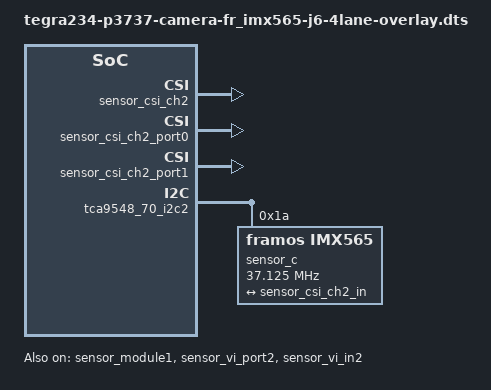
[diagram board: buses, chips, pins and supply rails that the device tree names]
// SPDX-License-Identifier: GPL-2.0
/*
 * Copyright (c) 2024 Framos. All rights reserved.
 *
 * tegra234-p3737-camera-fr_imx565-j6-4lane-overlay.dts - IMX412 sensor device tree
 */

/dts-v1/;
/plugin/;

#include <dt-bindings/clock/tegra234-clock.h>
#include <dt-bindings/gpio/tegra234-gpio.h>
#include <dt-bindings/tegra234-p3737-0000+p3701-0000.h>


/ {
	overlay-name = "Framos IMX565-J6-4Lane";
	jetson-header-name = "Jetson AGX CSI Connector";
	compatible = JETSON_COMPATIBLE;

	fragment@0 {
		target = <&sensor_module1>;
		__overlay__ {
			status = "okay";
			badge = "imx565_centerright_framos";
			drivernode0 {
				status = "okay";
				/* Declare PCL support driver (classically known as guid) */
				devname = "imx565 11-001a";
				/* Declare the device-tree hierarchy to driver instance */
				sysfs-device-tree = "/sys/firmware/devicetree/base/bus@0/i2c@3180000/tca9548@70/i2c@2/imx565_c@1a";
			};
		};
	};

	fragment@1 {
		target = <&sensor_vi_port2>;
		__overlay__ {
			status = "okay";
		};
	};

	fragment@2 {
		target = <&sensor_vi_in2>;
		__overlay__ {
			status = "okay";
			bus-width = <4>;
		};
	};

	fragment@3 {
		target = <&sensor_csi_ch2>;
		__overlay__ {
			status = "okay";
			ports {
				status = "okay";
			};
		};
	};

	fragment@4 {
		target = <&sensor_csi_ch2_port0>;
		__overlay__ {
			status = "okay";
		};
	};

	fragment@5 {
		target = <&sensor_csi_ch2_in>;
		__overlay__ {
			status = "okay";
			bus-width = <4>;
			remote-endpoint = <&sensor_out_c>;
		};
	};

	fragment@6 {
		target = <&sensor_csi_ch2_port1>;
		__overlay__ {
			status = "okay";
		};
	};

	fragment@7 {
		target = <&sensor_csi_ch2_out>;
		__overlay__ {
			status = "okay";
		};
	};

	fragment@8 {
		target = <&tca9548_70_i2c2>;
		__overlay__ {
			sensor_c: imx565_c@1a {
				compatible = "framos,imx565";
				reg = <0x1a>;

				/* Define any required hw resources needed by driver */
				/* ie. clocks, io pins, power sources */
				clocks = <&bpmp TEGRA234_CLK_EXTPERIPH1>, <&bpmp TEGRA234_CLK_EXTPERIPH1>;
				clock-names = "extperiph1", "pllp_grtba";
				mclk = "extperiph1";
				clock-frequency = <37125000>;

				devnode = "video2";

				physical_w = "20.00";
				physical_h = "16.80";

				sensor_model ="imx565";

				/* Defines number of frames to be dropped by driver internally after applying */
				/* sensor crop settings. Some sensors send corrupt frames after applying */
				/* crop co-ordinates */
				post_crop_frame_drop = "0";

				/* Convert Gain to unit of dB (decibel) befor passing to kernel driver */
				use_decibel_gain = "true";

				/* if true, delay gain setting by one frame to be in sync with exposure */
				delayed_gain = "false";

				/* enable CID_SENSOR_MODE_ID for sensor modes selection */
				use_sensor_mode_id = "false";

				mode0 {
					mclk_khz = "37125";
					num_lanes = "4";
					tegra_sinterface = "serial_c";
					vc_id = "0";
					phy_mode = "DPHY";
					discontinuous_clk = "no";
					dpcm_enable = "false";
					cil_settletime = "0";
					active_w = "4128";
					active_h = "3008";

					dynamic_pixel_bit_depth = "12";
					csi_pixel_bit_depth = "12";
					mode_type = "bayer";
					pixel_phase = "rggb";

					readout_orientation = "0";
					line_length = "4512";
					inherent_gain = "1";
					pix_clk_hz = "475200000";
					serdes_pix_clk_hz = "12000000000";/* GMSL predefine */

					gain_factor = "10";
					min_gain_val = "0";/* 0dB */
					max_gain_val = "480";/* 48dB */
					step_gain_val = "1";/* 0.1 */
					default_gain = "0";
					min_hdr_ratio = "1";
					max_hdr_ratio = "1";
					framerate_factor = "1000000";
					min_framerate = "1500000";/* 1.5 */
					max_framerate = "29000000";/* 29 */
					step_framerate = "1";
					default_framerate= "29000000";
					exposure_factor = "1000000";
					min_exp_time = "11";/* us */
					step_exp_time = "1";
					max_exp_time = "660000";/* us */
					default_exp_time = "10000";/* us */
					embedded_metadata_height = "1";
				};
				mode1 {
					mclk_khz = "37125";
					num_lanes = "4";
					tegra_sinterface = "serial_c";
					vc_id = "0";
					phy_mode = "DPHY";
					discontinuous_clk = "no";
					dpcm_enable = "false";
					cil_settletime = "0";
					active_w = "3840";
					active_h = "2160";

					dynamic_pixel_bit_depth = "12";
					csi_pixel_bit_depth = "12";
					mode_type = "bayer";
					pixel_phase = "rggb";

					readout_orientation = "0";
					line_length = "4512";
					inherent_gain = "1";
					pix_clk_hz = "475200000";
					serdes_pix_clk_hz = "12000000000";/* GMSL predefine */

					gain_factor = "10";
					min_gain_val = "0";/* 0dB */
					max_gain_val = "480";/* 48dB */
					step_gain_val = "1";/* 0.1 */
					default_gain = "0";
					min_hdr_ratio = "1";
					max_hdr_ratio = "1";
					framerate_factor = "1000000";
					min_framerate = "1500000";/* 1.5 */
					max_framerate = "40000000";/* 40 */
					step_framerate = "1";
					default_framerate= "40000000";
					exposure_factor = "1000000";
					min_exp_time = "11";/* us */
					step_exp_time = "1";
					max_exp_time = "660000";/* us */
					default_exp_time = "10000";/* us */
					embedded_metadata_height = "1";
				};
				mode2 {
					mclk_khz = "37125";
					num_lanes = "4";
					tegra_sinterface = "serial_c";
					vc_id = "0";
					phy_mode = "DPHY";
					discontinuous_clk = "no";
					dpcm_enable = "false";
					cil_settletime = "0";
					active_w = "1920";
					active_h = "1080";

					dynamic_pixel_bit_depth = "12";
					csi_pixel_bit_depth = "12";
					mode_type = "bayer";
					pixel_phase = "rggb";

					readout_orientation = "0";
					line_length = "4512";
					inherent_gain = "1";
					pix_clk_hz = "475200000";
					serdes_pix_clk_hz = "12000000000";/* GMSL predefine */

					gain_factor = "10";
					min_gain_val = "0";/* 0dB */
					max_gain_val = "480";/* 48dB */
					step_gain_val = "1";/* 0.1 */
					default_gain = "0";
					min_hdr_ratio = "1";
					max_hdr_ratio = "1";
					framerate_factor = "1000000";
					min_framerate = "1500000";/* 1.5 */
					max_framerate = "146000000";/* 146 */
					step_framerate = "1";
					default_framerate= "146000000";
					exposure_factor = "1000000";
					min_exp_time = "6";/* us */
					step_exp_time = "1";
					max_exp_time = "660000";/* us */
					default_exp_time = "10000";/* us */
					embedded_metadata_height = "1";
				};
				mode3 {
					mclk_khz = "37125";
					num_lanes = "4";
					tegra_sinterface = "serial_c";
					vc_id = "0";
					phy_mode = "DPHY";
					discontinuous_clk = "no";
					dpcm_enable = "false";
					cil_settletime = "0";
					active_w = "4128";
					active_h = "3008";

					dynamic_pixel_bit_depth = "10";
					csi_pixel_bit_depth = "10";
					mode_type = "bayer";
					pixel_phase = "rggb";

					readout_orientation = "0";
					line_length = "4512";
					inherent_gain = "1";
					pix_clk_hz = "475200000";
					serdes_pix_clk_hz = "12000000000";/* GMSL predefine */

					gain_factor = "10";
					min_gain_val = "0";/* 0dB */
					max_gain_val = "480";/* 48dB */
					step_gain_val = "1";/* 0.1 */
					default_gain = "0";
					min_hdr_ratio = "1";
					max_hdr_ratio = "1";
					framerate_factor = "1000000";
					min_framerate = "1500000";/* 1.5 */
					max_framerate = "34000000";/* 34 */
					step_framerate = "1";
					default_framerate= "34000000";
					exposure_factor = "1000000";
					min_exp_time = "10";/* us */
					step_exp_time = "1";
					max_exp_time = "660000";/* us */
					default_exp_time = "10000";/* us */
					embedded_metadata_height = "1";
				};
				mode4 {
					mclk_khz = "37125";
					num_lanes = "4";
					tegra_sinterface = "serial_c";
					vc_id = "0";
					phy_mode = "DPHY";
					discontinuous_clk = "no";
					dpcm_enable = "false";
					cil_settletime = "0";
					active_w = "3840";
					active_h = "2160";

					dynamic_pixel_bit_depth = "10";
					csi_pixel_bit_depth = "10";
					mode_type = "bayer";
					pixel_phase = "rggb";

					readout_orientation = "0";
					line_length = "4512";
					inherent_gain = "1";
					pix_clk_hz = "475200000";
					serdes_pix_clk_hz = "12000000000";/* GMSL predefine */

					gain_factor = "10";
					min_gain_val = "0";/* 0dB */
					max_gain_val = "480";/* 48dB */
					step_gain_val = "1";/* 0.1 */
					default_gain = "0";
					min_hdr_ratio = "1";
					max_hdr_ratio = "1";
					framerate_factor = "1000000";
					min_framerate = "1500000";/* 1.5 */
					max_framerate = "47000000";/* 47 */
					step_framerate = "1";
					default_framerate= "47000000";
					exposure_factor = "1000000";
					min_exp_time = "10";/* us */
					step_exp_time = "1";
					max_exp_time = "660000";/* us */
					default_exp_time = "10000";/* us */
					embedded_metadata_height = "1";
				};
				mode5 {
					mclk_khz = "37125";
					num_lanes = "4";
					tegra_sinterface = "serial_c";
					vc_id = "0";
					phy_mode = "DPHY";
					discontinuous_clk = "no";
					dpcm_enable = "false";
					cil_settletime = "0";
					active_w = "1920";
					active_h = "1080";

					dynamic_pixel_bit_depth = "10";
					csi_pixel_bit_depth = "10";
					mode_type = "bayer";
					pixel_phase = "rggb";

					readout_orientation = "0";
					line_length = "4512";
					inherent_gain = "1";
					pix_clk_hz = "475200000";
					serdes_pix_clk_hz = "12000000000";/* GMSL predefine */

					gain_factor = "10";
					min_gain_val = "0";/* 0dB */
					max_gain_val = "480";/* 48dB */
					step_gain_val = "1";/* 0.1 */
					default_gain = "0";
					min_hdr_ratio = "1";
					max_hdr_ratio = "1";
					framerate_factor = "1000000";
					min_framerate = "1500000";/* 1.5 */
					max_framerate = "170000000";/* 170 */
					step_framerate = "1";
					default_framerate= "170000000";
					exposure_factor = "1000000";
					min_exp_time = "5";/* us */
					step_exp_time = "1";
					max_exp_time = "660000";/* us */
					default_exp_time = "10000";/* us */
					embedded_metadata_height = "1";
				};
				mode6 {
					mclk_khz = "37125";
					num_lanes = "4";
					tegra_sinterface = "serial_c";
					vc_id = "0";
					phy_mode = "DPHY";
					discontinuous_clk = "no";
					dpcm_enable = "false";
					cil_settletime = "0";
					active_w = "4128";
					active_h = "3008";

					dynamic_pixel_bit_depth = "8";
					csi_pixel_bit_depth = "8";
					mode_type = "bayer";
					pixel_phase = "rggb";

					readout_orientation = "0";
					line_length = "4512";
					inherent_gain = "1";
					pix_clk_hz = "475200000";
					serdes_pix_clk_hz = "12000000000";/* GMSL predefine */

					gain_factor = "10";
					min_gain_val = "0";/* 0dB */
					max_gain_val = "480";/* 48dB */
					step_gain_val = "1";/* 0.1 */
					default_gain = "0";
					min_hdr_ratio = "1";
					max_hdr_ratio = "1";
					framerate_factor = "1000000";
					min_framerate = "1500000";/* 1.5 */
					max_framerate = "42000000";/* 42 */
					step_framerate = "1";
					default_framerate= "42000000";
					exposure_factor = "1000000";
					min_exp_time = "8";/* us */
					step_exp_time = "1";
					max_exp_time = "660000";/* us */
					default_exp_time = "10000";/* us */
					embedded_metadata_height = "1";
				};
				mode7 {
					mclk_khz = "37125";
					num_lanes = "4";
					tegra_sinterface = "serial_c";
					vc_id = "0";
					phy_mode = "DPHY";
					discontinuous_clk = "no";
					dpcm_enable = "false";
					cil_settletime = "0";
					active_w = "3840";
					active_h = "2160";

					dynamic_pixel_bit_depth = "8";
					csi_pixel_bit_depth = "8";
					mode_type = "bayer";
					pixel_phase = "rggb";

					readout_orientation = "0";
					line_length = "4512";
					inherent_gain = "1";
					pix_clk_hz = "475200000";
					serdes_pix_clk_hz = "12000000000";/* GMSL predefine */

					gain_factor = "10";
					min_gain_val = "0";/* 0dB */
					max_gain_val = "480";/* 48dB */
					step_gain_val = "1";/* 0.1 */
					default_gain = "0";
					min_hdr_ratio = "1";
					max_hdr_ratio = "1";
					framerate_factor = "1000000";
					min_framerate = "1500000";/* 1.5 */
					max_framerate = "58000000";/* 58 */
					step_framerate = "1";
					default_framerate= "58000000";
					exposure_factor = "1000000";
					min_exp_time = "8";/* us */
					step_exp_time = "1";
					max_exp_time = "660000";/* us */
					default_exp_time = "10000";/* us */
					embedded_metadata_height = "1";
				};
				mode8 {
					mclk_khz = "37125";
					num_lanes = "4";
					tegra_sinterface = "serial_c";
					vc_id = "0";
					phy_mode = "DPHY";
					discontinuous_clk = "no";
					dpcm_enable = "false";
					cil_settletime = "0";
					active_w = "1920";
					active_h = "1080";

					dynamic_pixel_bit_depth = "8";
					csi_pixel_bit_depth = "8";
					mode_type = "bayer";
					pixel_phase = "rggb";

					readout_orientation = "0";
					line_length = "4512";
					inherent_gain = "1";
					pix_clk_hz = "475200000";
					serdes_pix_clk_hz = "12000000000";/* GMSL predefine */

					gain_factor = "10";
					min_gain_val = "0";/* 0dB */
					max_gain_val = "480";/* 48dB */
					step_gain_val = "1";/* 0.1 */
					default_gain = "0";
					min_hdr_ratio = "1";
					max_hdr_ratio = "1";
					framerate_factor = "1000000";
					min_framerate = "1500000";/* 1.5 */
					max_framerate = "205000000";/* 205 */
					step_framerate = "1";
					default_framerate= "205000000";
					exposure_factor = "1000000";
					min_exp_time = "4";/* us */
					step_exp_time = "1";
					max_exp_time = "660000";/* us */
					default_exp_time = "10000";/* us */
					embedded_metadata_height = "1";
				};
				ports {
					#address-cells = <1>;
					#size-cells = <0>;
					port@0 {
						reg = <0>;
						sensor_out_c: endpoint {
							vc-id = <0>;
							port-index = <2>;
							bus-width = <4>;
							remote-endpoint = <&sensor_csi_ch2_in>;
						};
					};
				};
			};
		};
	};

};
